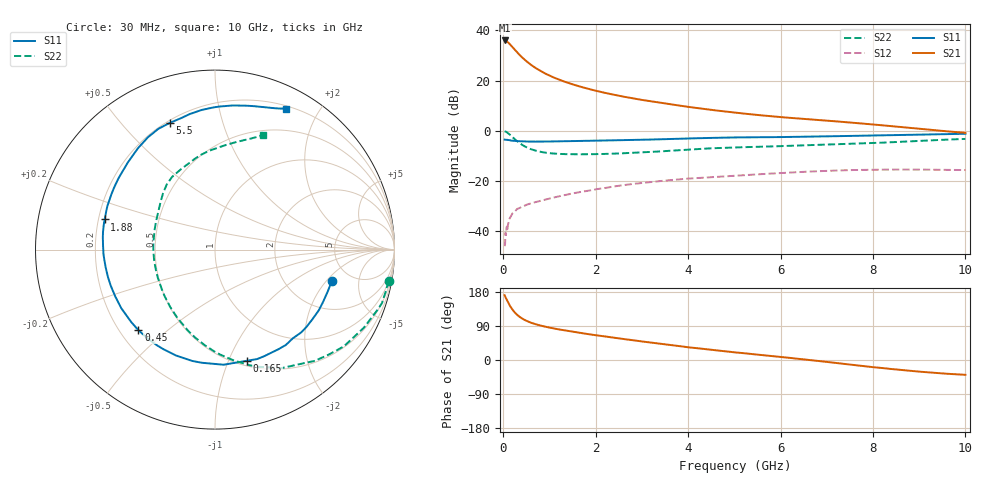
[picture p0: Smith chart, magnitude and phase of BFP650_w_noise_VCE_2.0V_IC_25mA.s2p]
! Infineon Technologies  Discrete & RF Semiconductors
! BFP650
! VCE =  2.0 V,  IC =  25 mA
! Common Emitter S-Parameters:  Jan 2016
# GHz  S  MA  R  50
!  f  S11  S21  S12  S22
! GHz  MAG  ANG  MAG  ANG  MAG  ANG  MAG  ANG
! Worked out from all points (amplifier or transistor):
!   229 points, 30 MHz to 10 GHz, reference 50 ohm
!   highest |S21| = 36.0 dB at 40 MHz (marker M1)
!   |S21| within 3 dB of that: start of sweep to 218.2 MHz
!   unconditionally stable (mu >= 1): 2.466 GHz to end of sweep
!   at 280 MHz: K = 0.28, MSG = 31.6 dB, |S12| = -31.4 dB
!   at 1.78 GHz: K = 0.93, MSG = 20.5 dB, |S12| = -24.0 dB
!   at 10 GHz: K = 1.04, MAG = 6.2 dB, |S12| = -15.6 dB
!   lowest NFmin = 0.71 dB at 450 MHz
!   S11 on the Smith chart (normalised r, x): 30 MHz: 3.60, -2.29; 165 MHz: 0.55, -1.17; 450 MHz: 0.28, -0.40; 1.88 GHz: 0.23, +0.13; 5.5 GHz: 0.21, +0.68; 10 GHz: 0.23, +1.60
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0.03  0.674 -14.9  63.09 171.0  0.0051 91.8  0.9832 -10.3
0.04  0.67 -20.4  63.1 168.1  0.0056 83.1  0.9792 -13.9
0.07  0.6673 -35.8  61.01 160.1  0.0119 71.3  0.9467 -24.6
0.105  0.6592 -51.1  57.69 151.5  0.0138 64.7  0.9031 -35.1
0.14  0.6541 -65.3  53.58 143.8  0.0182 62.4  0.8482 -45.2
0.165  0.6446 -73.9  50.52 139.3  0.02 59.2  0.8061 -51.6
0.2  0.6432 -85.7  46.67 132.6  0.0229 57.4  0.7572 -60.7
0.24  0.6348 -96.6  42.4 126.7  0.0244 53.3  0.6989 -69.2
0.3  0.6288 -110.3  36.79 119.2  0.0281 47.7  0.6251 -80.6
0.36  0.6237 -121.1  32.16 113.4  0.0294 46.7  0.5685 -90.2
0.45  0.6195 -133.5  26.81 106.5  0.0322 44.2  0.503 -102.6
0.6  0.6159 -148.0  20.68 98.4  0.0362 42.6  0.434 -118.9
0.9  0.6157 -165.6  13.99 88.2  0.0428 42.0  0.3711 -142.5
1.28  0.6227 -179.7  9.892 79.1  0.0518 42.9  0.3472 -162.5
1.7  0.6335 168.9  7.452 70.9  0.0618 42.0  0.3435 -178.4
1.88  0.637 164.7  6.726 67.6  0.0656 41.0  0.3444 176.0
3.4  0.682 136.6  3.629 43.1  0.1007 30.3  0.3923 142.1
5.1  0.744 114.0  2.268 19.2  0.1299 15.6  0.4724 119.3
5.5  0.7494 109.7  2.077 14.1  0.1371 12.4  0.4832 114.4
6.8  0.7755 97.5  1.657 -2.2  0.1579 0.2  0.526 100.4
8.4  0.8206 77.7  1.246 -23.8  0.1703 -16.6  0.5957 81.9
10  0.8792 63.3  0.916 -39.1  0.1666 -28.8  0.6936 67.2
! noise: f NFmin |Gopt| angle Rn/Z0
0.45  0.71  0.07  109  2.2
0.9  0.73  0.24  -178  0.13
1.9  0.89  0.31  -164  0.05
2.4  0.97  0.32  -150  0.06
3.5  1.21  0.37  -125  0.13
